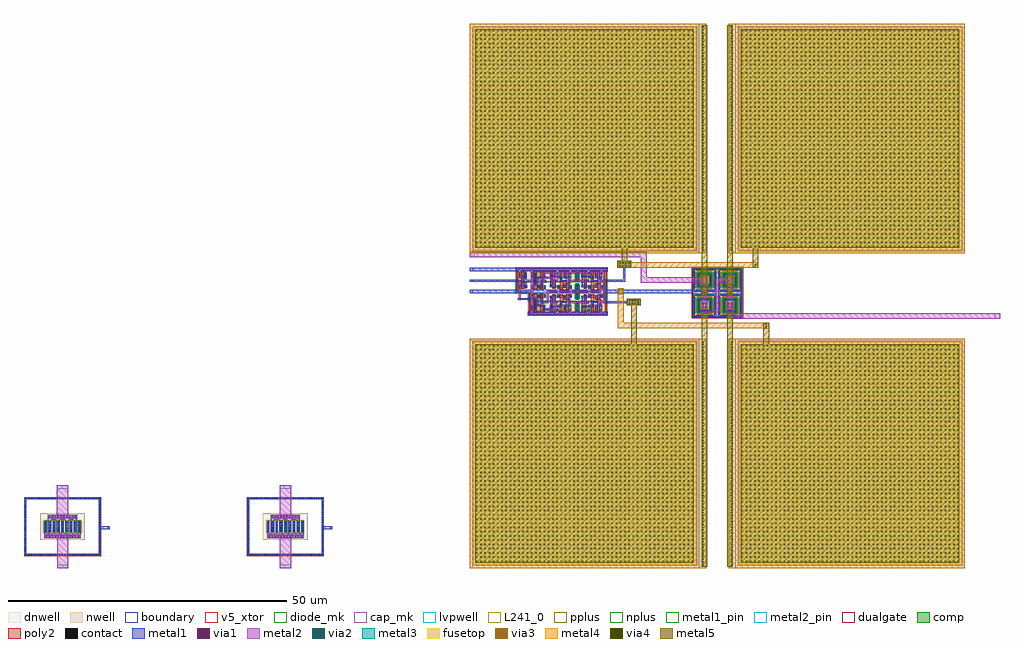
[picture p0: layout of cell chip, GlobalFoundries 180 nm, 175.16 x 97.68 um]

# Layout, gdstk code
from math import pi, radians
import gdstk
lib = gdstk.Library(unit=1e-6, precision=1e-09)
def R(c, l, rs):  # rectangles x0, y0, x1, y1
    for r in rs: c.add(gdstk.rectangle(r[:2], r[2:], *l))
def A(c, l, x, y, w, h, nx, ny, dx, dy):  # array of equal rectangles
    R(c, l, [(x+i*dx, y+j*dy, x+i*dx+w, y+j*dy+h) for i in range(nx) for j in range(ny)])
def P(c, l, *ps):  # polygons
    for p in ps: c.add(gdstk.Polygon(p, *l))
boundary = (0, 0)
dnwell = (12, 0)
nwell = (21, 0)
comp = (22, 0)
poly2 = (30, 0)
pplus = (31, 0)
nplus = (32, 0)
contact = (33, 0)
metal1 = (34, 0)
metal1_pin = (34, 10)
via1 = (35, 0)
metal2 = (36, 0)
metal2_pin = (36, 10)
via2 = (38, 0)
via3 = (40, 0)
via4 = (41, 0)
metal3 = (42, 0)
metal4 = (46, 0)
dualgate = (55, 0)
fusetop = (75, 0)
metal5 = (81, 0)
v5_xtor = (112, 1)
diode_mk = (115, 5)
cap_mk = (117, 5)
lvpwell = (204, 0)
L241_0 = (241, 0)

schottkydiode = lib.new_cell('SchottkyDiode')
R(schottkydiode, dnwell, [(2.89,5.06,10.93,9.86)])
A(schottkydiode, comp, 3.65, 6.46, 0.36, 2, 5, 1, 1.54, 0)
A(schottkydiode, comp, 4.29, 6.46, 0.62, 2, 4, 1, 1.54, 0)
P(schottkydiode, comp, [(0.03,2.2),(0.03,12.36),(0.39,12.36),(0.39,2.56),(13.43,2.56),(13.43,12.36),(0.03,12.36),(0.03,12.72),(13.79,12.72),(13.79,2.2)])
P(schottkydiode, pplus, [(0,2.17),(0,12.33),(0.42,12.33),(0.42,2.59),(13.4,2.59),(13.4,12.33),(0,12.33),(0,12.75),(13.82,12.75),(13.82,2.17)])
A(schottkydiode, nplus, 3.62, 6.43, 0.42, 2.06, 5, 1, 1.54, 0)
A(schottkydiode, contact, 0.22, 2.27, 0.22, 0.22, 29, 2, 0.47, 10.16)
A(schottkydiode, contact, 0.1, 2.87, 0.22, 0.22, 1, 20, 0, 0.47)
A(schottkydiode, contact, 13.5, 2.87, 0.22, 0.22, 1, 20, 0, 0.47)
A(schottkydiode, contact, 3.72, 6.645, 0.22, 0.22, 9, 4, 0.77, 0.47)
A(schottkydiode, metal1, 3.65, 6.23, 0.36, 2.23, 5, 1, 1.54, 0)
A(schottkydiode, metal1, 4.29, 6.46, 0.62, 2.23, 4, 1, 1.54, 0)
R(schottkydiode, metal1, [(3.65,5.35,10.17,6), (3.65,6,10.17,6.23), (13.43,6.97,15.35,7.48), (4.29,8.69,9.53,8.92), (4.29,8.92,9.53,9.57)])
P(schottkydiode, metal1, [(0.03,2.2),(0.03,12.72),(0.39,12.72),(0.39,2.56),(13.43,2.56),(13.43,12.36),(0.39,12.36),(0.39,12.72),(13.79,12.72),(13.79,2.2)])
R(schottkydiode, metal1_pin, [(14.99,6.97,15.35,7.48)])
A(schottkydiode, via1, 3.93, 5.54, 0.26, 0.26, 12, 1, 0.52, 0)
A(schottkydiode, via1, 4.44, 9.13, 0.26, 0.26, 10, 1, 0.52, 0)
R(schottkydiode, metal2, [(5.93,0,7.93,6), (3.65,5.35,10.17,6), (4.29,8.92,9.53,9.57), (5.92,8.92,7.92,14.92)])
R(schottkydiode, metal2_pin, [(5.93,0,7.93,0.65), (5.92,14.27,7.92,14.92), (5.92,14.27,7.92,14.92)])
R(schottkydiode, L241_0, [(3.49,6.3,10.33,8.62)])
schottkydiode.add(gdstk.Label('GND_e', (15.17,7.2), layer=34, texttype=10))
schottkydiode.add(gdstk.Label('Anode_n', (6.9,14.58), layer=36, texttype=10))
schottkydiode.add(gdstk.Label('Cathode_s', (6.93,0.32), layer=36, texttype=10))

cap_mim_2p0ff_dkdw9x = lib.new_cell('cap_mim_2p0fF_DKDW9X')
R(cap_mim_2p0ff_dkdw9x, boundary, [(-21.2,-20.6,20,20.6)])
A(cap_mim_2p0ff_dkdw9x, via4, 20.54, -20.15, 0.26, 0.26, 1, 78, 0, 0.52)
A(cap_mim_2p0ff_dkdw9x, via4, -20.11, -19.51, 0.26, 0.26, 52, 52, 0.76, 0.76)
R(cap_mim_2p0ff_dkdw9x, metal4, [(-21.2,-20.6,21.2,20.6)])
R(cap_mim_2p0ff_dkdw9x, fusetop, [(-20.6,-20,19.4,20)])
R(cap_mim_2p0ff_dkdw9x, metal5, [(20.45,-20.315,20.89,20.315), (-20.2,-19.6,19,19.6)])
R(cap_mim_2p0ff_dkdw9x, cap_mk, [(-20.8,-20.2,19.6,20.2)])

diode_pd2nw_06v0_clfv8t = lib.new_cell('diode_pd2nw_06v0_CLFV8T')
R(diode_pd2nw_06v0_clfv8t, boundary, [(-1.04,-1.04,1.04,1.04)])
R(diode_pd2nw_06v0_clfv8t, nwell, [(-1.38,-1.38,1.38,1.38)])
R(diode_pd2nw_06v0_clfv8t, comp, [(-2.1,-2.1,2.1,-1.74), (-2.1,-1.74,-1.74,1.74), (1.74,-1.74,2.1,1.74), (-1.22,-1.22,1.22,-0.86), (-1.22,-0.86,-0.86,0.86), (0.86,-0.86,1.22,0.86), (-0.5,-0.5,0.5,0.5), (-1.22,0.86,1.22,1.22), (-2.1,1.74,2.1,2.1)])
R(diode_pd2nw_06v0_clfv8t, pplus, [(-2.12,-2.12,2.12,-1.615), (-2.13,-1.615,2.13,-1.58), (-2.13,-1.58,-1.58,1.58), (1.58,-1.58,2.13,1.58), (-0.66,-0.66,0.66,0.66), (-2.13,1.58,2.13,1.615), (-2.12,1.615,2.12,2.12)])
R(diode_pd2nw_06v0_clfv8t, nplus, [(-1.38,-1.38,1.38,-0.79), (-1.38,-0.79,-0.79,0.79), (0.79,-0.79,1.38,0.79), (-1.38,0.79,1.38,1.38)])
A(diode_pd2nw_06v0_clfv8t, contact, -2.03, -1.285, 0.22, 0.22, 1, 6, 0, 0.47)
A(diode_pd2nw_06v0_clfv8t, contact, 1.81, -1.285, 0.22, 0.22, 1, 6, 0, 0.47)
A(diode_pd2nw_06v0_clfv8t, contact, -0.58, -1.15, 0.22, 0.22, 3, 2, 0.47, 2.08)
A(diode_pd2nw_06v0_clfv8t, contact, -1.15, -0.58, 0.22, 0.22, 1, 3, 0, 0.47)
A(diode_pd2nw_06v0_clfv8t, contact, 0.93, -0.58, 0.22, 0.22, 1, 3, 0, 0.47)
R(diode_pd2nw_06v0_clfv8t, contact, [(-0.345,-0.345,-0.125,-0.125), (0.125,-0.345,0.345,-0.125), (-0.345,0.125,-0.125,0.345), (0.125,0.125,0.345,0.345)])
R(diode_pd2nw_06v0_clfv8t, metal1, [(-2.035,-2.035,2.035,-1.805), (-2.035,-1.805,-1.805,1.805), (1.805,-1.805,2.035,1.805), (-1.155,-1.155,1.155,-0.925), (-1.155,-0.925,-0.925,0.925), (0.925,-0.925,1.155,0.925), (-0.49,-0.435,0.49,0.435), (-1.155,0.925,1.155,1.155), (-2.035,1.805,2.035,2.035)])
R(diode_pd2nw_06v0_clfv8t, dualgate, [(-2.34,-2.34,2.34,2.34)])
R(diode_pd2nw_06v0_clfv8t, diode_mk, [(-0.5,-0.5,0.5,0.5)])
R(diode_pd2nw_06v0_clfv8t, lvpwell, [(-2.26,-2.26,2.26,-1.38), (-2.26,-1.38,-1.38,1.38), (1.38,-1.38,2.26,1.38), (-2.26,1.38,2.26,2.26)])

gf180mcu_fd_sc_mcu7t5v0_ = lib.new_cell('gf180mcu_fd_sc_mcu7t5v0__nor2_1')
R(gf180mcu_fd_sc_mcu7t5v0_, boundary, [(0,0,3.36,3.92)])
R(gf180mcu_fd_sc_mcu7t5v0_, nwell, [(-0.43,1.76,3.79,4.35)])
R(gf180mcu_fd_sc_mcu7t5v0_, comp, [(0.18,0.525,2.78,1.09), (0.18,2.36,2.73,3.58)])
P(gf180mcu_fd_sc_mcu7t5v0_, poly2, [(0.62,0.305),(0.62,3.8),(1.12,3.8),(1.12,1.315),(1.22,1.315),(1.22,0.305)],
  [(1.74,0.305),(1.74,1.315),(1.79,1.315),(1.79,3.8),(2.29,3.8),(2.29,1.315),(2.34,1.315),(2.34,0.305)])
R(gf180mcu_fd_sc_mcu7t5v0_, pplus, [(-0.2,1.76,3.56,4.12)])
R(gf180mcu_fd_sc_mcu7t5v0_, nplus, [(-0.2,-0.2,3.56,1.76)])
R(gf180mcu_fd_sc_mcu7t5v0_, contact, [(0.25,0.665,0.47,0.885), (2.49,0.665,2.71,0.885), (1.37,0.735,1.59,0.955), (0.74,1.345,0.96,1.565), (1.86,1.345,2.08,1.565), (0.74,1.815,0.96,2.035), (1.86,1.815,2.08,2.035), (0.25,2.63,0.47,2.85), (2.44,2.63,2.66,2.85), (0.25,3.1,0.47,3.32), (2.44,3.1,2.66,3.32)])
R(gf180mcu_fd_sc_mcu7t5v0_, metal1, [(0.705,1.18,1.01,3.32)])
P(gf180mcu_fd_sc_mcu7t5v0_, metal1, [(1.24,0.6),(1.24,2.68),(2.385,2.68),(2.385,3.38),(2.665,3.38),(2.665,2.36),(1.595,2.36),(1.595,0.6)],
  [(1.825,0.6),(1.825,2.13),(2.855,2.13),(2.855,1.79),(2.13,1.79),(2.13,0.6)],
  [(0,-0.3),(0,0.3),(0.245,0.3),(0.245,0.945),(0.475,0.945),(0.475,0.3),(2.485,0.3),(2.485,1.09),(2.715,1.09),(2.715,0.3),(3.36,0.3),(3.36,-0.3)],
  [(0.245,2.53),(0.245,3.62),(0,3.62),(0,4.22),(3.36,4.22),(3.36,3.62),(0.475,3.62),(0.475,2.53)])
R(gf180mcu_fd_sc_mcu7t5v0_, dualgate, [(-0.28,-0.28,3.64,4.2)])
R(gf180mcu_fd_sc_mcu7t5v0_, v5_xtor, [(0,0,3.36,3.92)])
R(gf180mcu_fd_sc_mcu7t5v0_, lvpwell, [(-0.43,-0.43,3.79,1.76)])
gf180mcu_fd_sc_mcu7t5v0_.add(gdstk.Label('VDD', (1.68,3.925), layer=34, texttype=10))
gf180mcu_fd_sc_mcu7t5v0_.add(gdstk.Label('VSS', (1.68,0), layer=34, texttype=10))
gf180mcu_fd_sc_mcu7t5v0_.add(gdstk.Label('ZN', (1.96,2.52), layer=34, texttype=10))
gf180mcu_fd_sc_mcu7t5v0_.add(gdstk.Label('A1', (1.96,1.4), layer=34, texttype=10))
gf180mcu_fd_sc_mcu7t5v0_.add(gdstk.Label('A2', (0.84,2.52), layer=34, texttype=10))
gf180mcu_fd_sc_mcu7t5v0_.add(gdstk.Label('& Vendor GLOBALFOUNDRIES', (0,2), layer=63, texttype=63))
gf180mcu_fd_sc_mcu7t5v0_.add(gdstk.Label('& Product GF018hv5v_mcu_sc7', (0,1.5), layer=63, texttype=63))
gf180mcu_fd_sc_mcu7t5v0_.add(gdstk.Label('& Version 2015q2v1', (0,1), layer=63, texttype=63))
gf180mcu_fd_sc_mcu7t5v0_.add(gdstk.Label('& Metric 1.00', (0,0.5), layer=63, texttype=63))
gf180mcu_fd_sc_mcu7t5v0_.add(gdstk.Label('VNW', (0.345,3.92), layer=21, texttype=10))
gf180mcu_fd_sc_mcu7t5v0_.add(gdstk.Label('VPW', (0.34,-0.085), layer=204, texttype=10))

c_gf180mcu_fd_sc_mcu7t5v0_ = lib.new_cell('gf180mcu_fd_sc_mcu7t5v0__filltie')
R(c_gf180mcu_fd_sc_mcu7t5v0_, boundary, [(0,0,1.12,3.92)])
R(c_gf180mcu_fd_sc_mcu7t5v0_, nwell, [(-0.43,1.76,1.55,4.35)])
R(c_gf180mcu_fd_sc_mcu7t5v0_, comp, [(0.28,0.28,0.84,1.28), (0.36,1.92,0.76,3.56)])
R(c_gf180mcu_fd_sc_mcu7t5v0_, pplus, [(0.2,0.2,0.92,1.36)])
P(c_gf180mcu_fd_sc_mcu7t5v0_, pplus, [(-0.2,1.76),(-0.2,4.12),(1.32,4.12),(1.32,1.76),(0.92,1.76),(0.92,3.72),(0.2,3.72),(0.2,1.76)])
P(c_gf180mcu_fd_sc_mcu7t5v0_, nplus, [(-0.2,-0.2),(-0.2,1.76),(0.2,1.76),(0.2,3.72),(0.92,3.72),(0.92,1.36),(0.2,1.36),(0.2,0.2),(0.92,0.2),(0.92,3.72),(0.92,1.76),(1.32,1.76),(1.32,-0.2)])
A(c_gf180mcu_fd_sc_mcu7t5v0_, contact, 0.45, 1.99, 0.22, 0.22, 1, 3, 0, 0.64)
R(c_gf180mcu_fd_sc_mcu7t5v0_, contact, [(0.45,0.4,0.67,0.62), (0.45,0.905,0.67,1.125)])
P(c_gf180mcu_fd_sc_mcu7t5v0_, metal1, [(0,-0.3),(0,0.3),(0.39,0.3),(0.39,1.185),(0.73,1.185),(0.73,0.3),(1.12,0.3),(1.12,-0.3)],
  [(0.39,1.93),(0.39,3.62),(0,3.62),(0,4.22),(1.12,4.22),(1.12,3.62),(0.73,3.62),(0.73,1.93)])
R(c_gf180mcu_fd_sc_mcu7t5v0_, dualgate, [(-0.28,-0.28,1.4,4.2)])
R(c_gf180mcu_fd_sc_mcu7t5v0_, v5_xtor, [(0,0,1.12,3.92)])
R(c_gf180mcu_fd_sc_mcu7t5v0_, lvpwell, [(-0.43,-0.43,1.55,1.76)])
c_gf180mcu_fd_sc_mcu7t5v0_.add(gdstk.Label('VDD', (0.57,3.92), layer=34, texttype=10))
c_gf180mcu_fd_sc_mcu7t5v0_.add(gdstk.Label('VSS', (0.57,0), layer=34, texttype=10))
c_gf180mcu_fd_sc_mcu7t5v0_.add(gdstk.Label('& Vendor GLOBALFOUNDRIES', (0,2), layer=63, texttype=63))
c_gf180mcu_fd_sc_mcu7t5v0_.add(gdstk.Label('& Product GF018hv5v_mcu_sc7', (0,1.5), layer=63, texttype=63))
c_gf180mcu_fd_sc_mcu7t5v0_.add(gdstk.Label('& Version 2015q2v1', (0,1), layer=63, texttype=63))
c_gf180mcu_fd_sc_mcu7t5v0_.add(gdstk.Label('& Metric 1.00', (0,0.5), layer=63, texttype=63))

c_gf180mcu_fd_sc_mcu7t5v0__ = lib.new_cell('gf180mcu_fd_sc_mcu7t5v0__clkinv_1')
R(c_gf180mcu_fd_sc_mcu7t5v0__, boundary, [(0,0,2.24,3.92)])
R(c_gf180mcu_fd_sc_mcu7t5v0__, nwell, [(-0.43,1.76,2.67,4.35)])
R(c_gf180mcu_fd_sc_mcu7t5v0__, comp, [(0.18,0.68,1.66,1.16), (0.18,2.36,1.56,3.58)])
P(c_gf180mcu_fd_sc_mcu7t5v0__, poly2, [(0.62,0.46),(0.62,3.8),(1.12,3.8),(1.12,1.38),(1.22,1.38),(1.22,0.46)])
R(c_gf180mcu_fd_sc_mcu7t5v0__, pplus, [(-0.2,1.76,2.44,4.12)])
R(c_gf180mcu_fd_sc_mcu7t5v0__, nplus, [(-0.2,-0.2,2.44,1.76)])
R(c_gf180mcu_fd_sc_mcu7t5v0__, contact, [(0.25,0.76,0.47,0.98), (1.37,0.76,1.59,0.98), (0.71,1.66,0.93,1.88), (0.25,2.58,0.47,2.8), (1.27,2.58,1.49,2.8), (0.25,3.05,0.47,3.27), (1.27,3.05,1.49,3.27)])
R(c_gf180mcu_fd_sc_mcu7t5v0__, metal1, [(1.26,0.6,1.595,3.37), (0.705,0.97,1.03,2.95)])
P(c_gf180mcu_fd_sc_mcu7t5v0__, metal1, [(0,-0.3),(0,0.3),(0.245,0.3),(0.245,1.04),(0.475,1.04),(0.475,0.3),(2.24,0.3),(2.24,-0.3)],
  [(0.245,2.48),(0.245,3.62),(0,3.62),(0,4.22),(2.24,4.22),(2.24,3.62),(0.475,3.62),(0.475,2.48)])
R(c_gf180mcu_fd_sc_mcu7t5v0__, dualgate, [(-0.28,-0.28,2.52,4.2)])
R(c_gf180mcu_fd_sc_mcu7t5v0__, v5_xtor, [(0,0,2.24,3.92)])
R(c_gf180mcu_fd_sc_mcu7t5v0__, lvpwell, [(-0.43,-0.43,2.67,1.76)])
c_gf180mcu_fd_sc_mcu7t5v0__.add(gdstk.Label('VDD', (1.4,3.92), layer=34, texttype=10))
c_gf180mcu_fd_sc_mcu7t5v0__.add(gdstk.Label('VSS', (1.4,0), layer=34, texttype=10))
c_gf180mcu_fd_sc_mcu7t5v0__.add(gdstk.Label('I', (0.84,1.96), layer=34, texttype=10))
c_gf180mcu_fd_sc_mcu7t5v0__.add(gdstk.Label('ZN', (1.4,1.96), layer=34, texttype=10))
c_gf180mcu_fd_sc_mcu7t5v0__.add(gdstk.Label('& Vendor GLOBALFOUNDRIES', (0,2), layer=63, texttype=63))
c_gf180mcu_fd_sc_mcu7t5v0__.add(gdstk.Label('& Product GF018hv5v_mcu_sc7', (0,1.5), layer=63, texttype=63))
c_gf180mcu_fd_sc_mcu7t5v0__.add(gdstk.Label('& Version 2015q2v1', (0,1), layer=63, texttype=63))
c_gf180mcu_fd_sc_mcu7t5v0__.add(gdstk.Label('& Metric 1.00', (0,0.5), layer=63, texttype=63))
c_gf180mcu_fd_sc_mcu7t5v0__.add(gdstk.Label('VNW', (0.345,3.92), layer=21, texttype=10))
c_gf180mcu_fd_sc_mcu7t5v0__.add(gdstk.Label('VPW', (0.34,-0.085), layer=204, texttype=10))

c_gf180mcu_fd_sc_mcu7t5v0___ = lib.new_cell('gf180mcu_fd_sc_mcu7t5v0__clkbuf_2')
R(c_gf180mcu_fd_sc_mcu7t5v0___, boundary, [(0,0,4.48,3.92)])
R(c_gf180mcu_fd_sc_mcu7t5v0___, nwell, [(-0.43,1.76,4.91,4.35)])
P(c_gf180mcu_fd_sc_mcu7t5v0___, comp, [(1.42,2.36),(1.42,2.56),(0.18,2.56),(0.18,3.58),(3.98,3.58),(3.98,2.36)],
  [(1.52,0.675),(1.52,0.8),(0.18,0.8),(0.18,1.16),(4.08,1.16),(4.08,0.675)])
P(c_gf180mcu_fd_sc_mcu7t5v0___, poly2, [(0.62,0.47),(0.62,3.8),(1.12,3.8),(1.12,2.035),(1.22,2.035),(1.22,0.47)],
  [(1.92,0.45),(1.92,3.8),(2.42,3.8),(2.42,2.035),(3.04,2.035),(3.04,3.8),(3.54,3.8),(3.54,2.035),(3.64,2.035),(3.64,0.45),(3.04,0.45),(3.04,1.675),(2.52,1.675),(2.52,0.45)])
R(c_gf180mcu_fd_sc_mcu7t5v0___, pplus, [(-0.2,1.76,4.68,4.12)])
R(c_gf180mcu_fd_sc_mcu7t5v0___, nplus, [(-0.2,-0.2,4.68,1.76)])
A(c_gf180mcu_fd_sc_mcu7t5v0___, contact, 1.99, 1.745, 0.22, 0.22, 3, 1, 0.47, 0)
R(c_gf180mcu_fd_sc_mcu7t5v0___, contact, [(3.79,0.825,4.01,1.045), (0.25,0.87,0.47,1.09), (1.55,0.87,1.77,1.09), (2.67,0.87,2.89,1.09), (0.8,1.745,1.02,1.965), (0.25,2.64,0.47,2.86), (2.67,2.64,2.89,2.86), (0.25,3.11,0.47,3.33), (1.42,3.11,1.64,3.33), (2.67,3.11,2.89,3.33), (3.69,3.11,3.91,3.33)])
P(c_gf180mcu_fd_sc_mcu7t5v0___, metal1, [(0.705,0.55),(0.705,2.15),(1.65,2.15),(1.65,1.74),(1.08,1.74),(1.08,0.55)],
  [(0.245,0.805),(0.245,3.39),(0.475,3.39),(0.475,2.82),(2.215,2.82),(2.215,2.04),(3.21,2.04),(3.21,1.74),(1.89,1.74),(1.89,2.59),(0.475,2.59),(0.475,0.805)],
  [(2.665,0.8),(2.665,1.51),(3.47,1.51),(3.47,2.36),(2.665,2.36),(2.665,3.39),(2.895,3.39),(2.895,2.71),(3.81,2.71),(3.81,1.28),(2.895,1.28),(2.895,0.8)],
  [(0,-0.3),(0,0.3),(1.49,0.3),(1.49,1.095),(1.83,1.095),(1.83,0.3),(3.73,0.3),(3.73,1.05),(4.07,1.05),(4.07,0.3),(4.48,0.3),(4.48,-0.3)],
  [(1.36,3.05),(1.36,3.62),(0,3.62),(0,4.22),(4.48,4.22),(4.48,3.62),(3.915,3.62),(3.915,3.05),(3.685,3.05),(3.685,3.62),(1.7,3.62),(1.7,3.05)])
R(c_gf180mcu_fd_sc_mcu7t5v0___, dualgate, [(-0.28,-0.28,4.76,4.2)])
R(c_gf180mcu_fd_sc_mcu7t5v0___, v5_xtor, [(0,0,4.48,3.92)])
R(c_gf180mcu_fd_sc_mcu7t5v0___, lvpwell, [(-0.43,-0.43,4.91,1.76)])
c_gf180mcu_fd_sc_mcu7t5v0___.add(gdstk.Label('Z', (3.08,2.52), layer=34, texttype=10))
c_gf180mcu_fd_sc_mcu7t5v0___.add(gdstk.Label('VSS', (2.185,0), layer=34, texttype=10))
c_gf180mcu_fd_sc_mcu7t5v0___.add(gdstk.Label('VDD', (2.185,3.92), layer=34, texttype=10))
c_gf180mcu_fd_sc_mcu7t5v0___.add(gdstk.Label('I', (0.84,1.4), layer=34, texttype=10))
c_gf180mcu_fd_sc_mcu7t5v0___.add(gdstk.Label('& Vendor GLOBALFOUNDRIES', (0,2), layer=63, texttype=63))
c_gf180mcu_fd_sc_mcu7t5v0___.add(gdstk.Label('& Product GF018hv5v_mcu_sc7', (0,1.5), layer=63, texttype=63))
c_gf180mcu_fd_sc_mcu7t5v0___.add(gdstk.Label('& Version 2015q2v1', (0,1), layer=63, texttype=63))
c_gf180mcu_fd_sc_mcu7t5v0___.add(gdstk.Label('& Metric 1.00', (0,0.5), layer=63, texttype=63))
c_gf180mcu_fd_sc_mcu7t5v0___.add(gdstk.Label('VNW', (0.345,3.92), layer=21, texttype=10))
c_gf180mcu_fd_sc_mcu7t5v0___.add(gdstk.Label('VPW', (0.34,-0.085), layer=204, texttype=10))

nonovclkgen = lib.new_cell('NonOvCLKGen')
R(nonovclkgen, nwell, [(-7,-3.36,-5.54,-3.025)])
R(nonovclkgen, metal1, [(-4.76,-9.34,-4.16,-9.175), (9.105,-9.34,9.54,-8.74), (-4.76,-9.175,-3.91,-8.915), (-4.76,-8.915,-4.16,-8.74), (-1.945,-8.5,-0.955,-8.2), (2.5,-7.335,2.95,-6.795), (8.1,-7.295,8.435,-7.215), (5.615,-7.27,6.105,-6.86), (-1.825,-7.25,-0.98,-6.97), (8.1,-7.215,9.54,-6.88), (-0.2,-7.205,0.615,-6.925), (-1.58,-6.97,-0.98,-6.91), (8.125,-6.88,8.42,-6.85), (-6.56,-6.64,-3.32,-6.3), (-7,-5.42,-6.4,-4.82), (9.11,-5.42,9.54,-4.82), (-2.2,-3.57,-1.475,-2.99), (2.5,-3.445,2.95,-2.905), (0.38,-3.38,0.68,-3.31), (5.615,-3.38,6.105,-2.97), (8.1,-3.38,8.23,-3.375), (8.1,-3.375,8.42,-3.36), (-7,-3.36,-5.54,-3.025), (-5.305,-3.36,-3.385,-3.025), (8.1,-3.36,9.54,-3.025), (-0.195,-3.31,0.68,-3.3), (-0.195,-3.3,0.62,-3.03), (-1.365,-2.765,-0.985,-2.76), (-1.93,-2.76,-0.985,-2.495), (-1.67,-2.495,-0.985,-2.485), (-7,-1.5,-6.4,-0.9), (9.07,-1.5,9.54,-0.9), (-4.165,-1.325,-3.905,-1.065)])
R(nonovclkgen, metal1_pin, [(9.205,-7.215,9.54,-6.88), (-7,-5.42,-6.4,-4.82), (-7,-3.36,-6.665,-3.025), (9.205,-3.36,9.54,-3.025), (-7,-1.5,-6.4,-0.9)])
R(nonovclkgen, via1, [(-4.17,-9.175,-3.91,-8.915), (-1.3,-8.48,-1.04,-8.22), (-1.3,-7.205,-1.04,-6.945), (-0.185,-7.195,0.075,-6.935), (0.335,-7.195,0.595,-6.935), (2.585,-7.195,2.845,-6.935), (5.73,-7.195,5.99,-6.935), (8.14,-7.145,8.4,-6.885), (-6.36,-6.595,-6.1,-6.335), (-2.135,-3.41,-1.875,-3.15), (8.14,-3.34,8.4,-3.08), (-6.365,-3.32,-6.105,-3.06), (2.585,-3.305,2.845,-3.045), (5.73,-3.305,5.99,-3.045), (-0.18,-3.3,0.08,-3.04), (0.34,-3.3,0.6,-3.04), (-1.315,-2.755,-1.055,-2.495), (-4.165,-1.325,-3.905,-1.065)])
R(nonovclkgen, metal2, [(-4.28,-9.29,-3.78,-0.95), (-1.37,-8.55,-0.955,-8.5), (-1.37,-8.5,0.38,-8.2), (-1.37,-8.2,-0.955,-8.15), (0.08,-8.2,0.38,-7.27), (2.47,-7.335,2.95,-7.27), (5.605,-7.325,6.075,-7.27), (-0.265,-7.27,0.68,-6.86), (2.47,-7.27,6.075,-6.86), (-1.34,-7.25,-1,-5.29), (8.1,-7.24,9.065,-6.71), (2.47,-6.86,2.95,-6.795), (5.605,-6.86,6.075,-6.785), (8.725,-6.71,9.065,-1.945), (-6.4,-6.655,-6.065,-2.98), (-1.34,-5.29,8.44,-4.95), (8.1,-4.95,8.44,-2.98), (-2.2,-3.57,-1.795,-1.945), (2.47,-3.445,2.95,-3.38), (5.605,-3.435,6.075,-3.38), (-0.265,-3.38,0.68,-2.97), (2.47,-3.38,6.075,-2.97), (-0.265,-2.97,0.675,-2.82), (2.47,-2.97,2.95,-2.905), (5.605,-2.97,6.075,-2.895), (-1.375,-2.82,0.675,-2.43), (-2.2,-1.945,9.065,-1.54)])
nonovclkgen.add(gdstk.Reference(gf180mcu_fd_sc_mcu7t5v0_, (-4.33,-5.12), x_reflection=True))
nonovclkgen.add(gdstk.Reference(gf180mcu_fd_sc_mcu7t5v0_, (-4.33,-5.12)))
nonovclkgen.add(gdstk.Reference(c_gf180mcu_fd_sc_mcu7t5v0_, (3.51,-5.12), x_reflection=True))
nonovclkgen.add(gdstk.Reference(c_gf180mcu_fd_sc_mcu7t5v0_, (3.51,-5.12)))
nonovclkgen.add(gdstk.Reference(c_gf180mcu_fd_sc_mcu7t5v0__, (-6.57,-5.12)))
nonovclkgen.add(gdstk.Reference(c_gf180mcu_fd_sc_mcu7t5v0___, (4.63,-5.12), x_reflection=True))
nonovclkgen.add(gdstk.Reference(c_gf180mcu_fd_sc_mcu7t5v0___, (4.63,-5.12)))
nonovclkgen.add(gdstk.Reference(c_gf180mcu_fd_sc_mcu7t5v0___, (-0.97,-5.12), x_reflection=True))
nonovclkgen.add(gdstk.Reference(c_gf180mcu_fd_sc_mcu7t5v0___, (-0.97,-5.12)))
nonovclkgen.add(gdstk.Label('CLK_IN', (-6.832,-3.192), layer=34, texttype=10))
nonovclkgen.add(gdstk.Label('VDD', (-6.7,-1.2), layer=34, texttype=10))
nonovclkgen.add(gdstk.Label('PHI1', (9.372,-3.192), layer=34, texttype=10))
nonovclkgen.add(gdstk.Label('PHI2', (9.372,-7.047), layer=34, texttype=10))
nonovclkgen.add(gdstk.Label('GND', (-6.7,-5.12), layer=34, texttype=10))

tunnelingchargepump = lib.new_cell('TunnelingChargePump')
R(tunnelingchargepump, pplus, [(44.27,45.04,44.59,45.545), (44.28,45.545,44.58,48.775), (44.27,48.775,44.59,49.28), (40.03,49.28,48.83,49.6), (44.27,49.6,44.59,50.105), (44.28,50.105,44.58,53.335), (44.27,53.335,44.59,53.84)])
R(tunnelingchargepump, metal1, [(44.185,45.125,44.675,49.195), (46.21,45.125,47.21,45.355), (41.5,45.93,42.8,46.31), (46.06,45.93,47.36,46.31), (41.65,46.66,42.65,47.66), (46.21,46.66,47.21,47.66), (28.175,47.145,30.645,47.55), (24.39,47.55,30.645,47.885), (28.175,47.885,30.645,48.39), (26.575,49.135,27.65,49.345), (40.115,49.195,48.745,49.345), (0,49.345,8.785,49.945), (24.64,49.345,48.745,49.685), (24.64,49.685,40.43,49.945), (44.185,49.685,44.675,53.755), (26.575,49.945,27.65,50.21), (41.5,50.49,42.8,50.87), (46.06,50.49,47.36,50.87), (41.65,51.22,42.65,52.22), (46.21,51.22,47.21,52.22), (0,51.405,8.52,51.74), (24.385,51.405,27.915,51.74), (27.58,51.74,27.915,53.89), (0,53.265,8.785,53.865), (26.51,53.89,28.98,55.135)])
R(tunnelingchargepump, metal1_pin, [(0,49.345,0.55,49.945), (0,51.405,0.55,51.74), (0,53.265,0.53,53.865)])
A(tunnelingchargepump, via1, 28.52, 47.39, 0.26, 0.26, 4, 2, 0.52, 0.52)
A(tunnelingchargepump, via1, 26.855, 54.135, 0.26, 0.26, 4, 2, 0.52, 0.52)
R(tunnelingchargepump, via1, [(41.76,45.99,42.02,46.25), (42.28,45.99,42.54,46.25), (46.32,45.99,46.58,46.25), (46.84,45.99,47.1,46.25), (41.76,46.77,42.02,47.03), (42.28,46.77,42.54,47.03), (46.32,46.77,46.58,47.03), (46.84,46.77,47.1,47.03), (41.76,47.29,42.02,47.55), (42.28,47.29,42.54,47.55), (46.32,47.29,46.58,47.55), (46.84,47.29,47.1,47.55), (26.72,49.29,26.98,49.55), (27.24,49.29,27.5,49.55), (26.72,49.81,26.98,50.07), (27.24,49.81,27.5,50.07), (41.76,50.55,42.02,50.81), (42.28,50.55,42.54,50.81), (46.32,50.55,46.58,50.81), (46.84,50.55,47.1,50.81), (41.76,51.33,42.02,51.59), (42.28,51.33,42.54,51.59), (46.32,51.33,46.58,51.59), (46.84,51.33,47.1,51.59), (41.76,51.85,42.02,52.11), (42.28,51.85,42.54,52.11), (46.32,51.85,46.58,52.11), (46.84,51.85,47.1,52.11)])
R(tunnelingchargepump, metal2, [(41.65,44.75,42.65,45.93), (46.21,44.75,95.155,45.7), (46.21,45.7,47.36,45.93), (41.5,45.93,44.675,46.31), (46.06,45.93,47.36,46.31), (44.185,46.31,44.675,51.22), (41.65,46.66,42.65,50.49), (46.21,46.66,47.21,50.49), (28.175,47.145,30.645,48.39), (26.575,49.135,27.65,50.21), (41.5,50.49,42.8,50.87), (46.06,50.49,47.36,50.87), (30.72,51.22,42.65,52.22), (44.185,51.22,47.21,52.22), (30.72,52.22,31.72,55.775), (26.51,53.89,28.98,55.135), (0,55.775,31.72,56.775)])
R(tunnelingchargepump, metal2_pin, [(94.205,44.75,95.155,45.7), (0,55.775,0.88,56.775)])
A(tunnelingchargepump, via2, 28.52, 47.39, 0.26, 0.26, 4, 2, 0.52, 0.52)
A(tunnelingchargepump, via2, 26.855, 54.135, 0.26, 0.26, 4, 2, 0.52, 0.52)
R(tunnelingchargepump, via2, [(42.02,45.13,42.28,45.39), (46.58,45.13,46.84,45.39), (26.72,49.29,26.98,49.55), (27.24,49.29,27.5,49.55), (42.02,49.305,42.28,49.565), (46.58,49.305,46.84,49.565), (26.72,49.81,26.98,50.07), (27.24,49.81,27.5,50.07)])
A(tunnelingchargepump, via3, 28.52, 47.39, 0.26, 0.26, 4, 2, 0.52, 0.52)
A(tunnelingchargepump, via3, 26.855, 54.135, 0.26, 0.26, 4, 2, 0.52, 0.52)
R(tunnelingchargepump, via3, [(42.02,45.13,42.28,45.39), (46.58,45.13,46.84,45.39), (26.72,49.29,26.98,49.55), (27.24,49.29,27.5,49.55), (42.02,49.305,42.28,49.565), (46.58,49.305,46.84,49.565), (26.72,49.81,26.98,50.07), (27.24,49.81,27.5,50.07)])
A(tunnelingchargepump, via4, 28.52, 47.39, 0.26, 0.26, 4, 2, 0.52, 0.52)
A(tunnelingchargepump, via4, 26.855, 54.135, 0.26, 0.26, 4, 2, 0.52, 0.52)
R(tunnelingchargepump, via4, [(53.02,43.15,53.28,43.41), (53.02,43.67,53.28,43.93), (42.02,45.13,42.28,45.39), (46.58,45.13,46.84,45.39), (42.02,49.305,42.28,49.565), (46.58,49.305,46.84,49.565), (51.13,54.265,51.39,54.525)])
R(tunnelingchargepump, metal3, [(41.65,44.75,42.65,45.7), (46.21,44.75,47.21,45.7), (28.175,47.145,30.645,48.39), (41.65,48.965,42.65,49.915), (46.21,48.965,47.21,49.915), (26.575,49.135,27.65,50.21), (26.51,53.89,28.98,55.135)])
R(tunnelingchargepump, metal4, [(52.625,43.005,53.7,43.03), (26.575,43.03,53.7,44.08), (26.575,44.08,27.65,50.21), (41.65,44.75,42.65,45.7), (46.21,44.75,47.21,45.7), (28.175,47.145,30.645,48.39), (41.65,48.965,42.65,49.915), (46.21,48.965,47.21,49.915), (26.51,53.89,51.765,54.89), (26.51,54.89,28.98,55.135)])
R(tunnelingchargepump, metal5, [(41.65,0.28,42.65,45.7), (46.205,0.285,47.205,42.09), (52.625,40.125,53.7,44.08), (28.975,40.155,29.975,47.145), (46.205,42.09,47.21,44.9), (46.21,44.9,47.21,45.7), (28.175,47.145,30.645,48.39), (41.65,48.965,42.65,97.385), (46.21,48.965,47.21,97.395), (26.51,53.89,28.98,55.135), (50.765,53.89,51.76,57.48), (27.24,55.135,28.24,57.48)])
R(tunnelingchargepump, lvpwell, [(44.41,47.345,44.45,49.42), (39.89,49.42,48.97,49.46), (44.41,49.46,44.45,53.98)])
tunnelingchargepump.add(gdstk.Reference(cap_mim_2p0ff_dkdw9x, (21.2,77.08)))
tunnelingchargepump.add(gdstk.Reference(cap_mim_2p0ff_dkdw9x, (67.66,77.08), rotation=pi))
tunnelingchargepump.add(gdstk.Reference(cap_mim_2p0ff_dkdw9x, (21.2,20.6)))
tunnelingchargepump.add(gdstk.Reference(cap_mim_2p0ff_dkdw9x, (67.655,20.6), rotation=pi))
tunnelingchargepump.add(gdstk.Reference(diode_pd2nw_06v0_clfv8t, (42.15,51.72)))
tunnelingchargepump.add(gdstk.Reference(diode_pd2nw_06v0_clfv8t, (46.71,51.72)))
tunnelingchargepump.add(gdstk.Reference(diode_pd2nw_06v0_clfv8t, (42.15,47.16)))
tunnelingchargepump.add(gdstk.Reference(diode_pd2nw_06v0_clfv8t, (46.71,47.16)))
tunnelingchargepump.add(gdstk.Reference(nonovclkgen, (15.185,54.765)))
tunnelingchargepump.add(gdstk.Label('VDD_w', (0.265,53.565), layer=34, texttype=10))
tunnelingchargepump.add(gdstk.Label('CLK_IN_w', (0.275,51.572), layer=34, texttype=10))
tunnelingchargepump.add(gdstk.Label('GND_w', (0.275,49.645), layer=34, texttype=10))
tunnelingchargepump.add(gdstk.Label('Vout_e', (94.68,45.225), layer=36, texttype=10))
tunnelingchargepump.add(gdstk.Label('Vin_w', (0.44,56.275), layer=36, texttype=10))

chip = lib.new_cell('chip')
r = gdstk.Reference(schottkydiode, (0,0)); r.repetition = gdstk.Repetition(1, 1, v1=(15.35,0), v2=(0,14.92)); chip.add(r)
r = gdstk.Reference(schottkydiode, (40,0)); r.repetition = gdstk.Repetition(1, 1, v1=(15.35,0), v2=(0,14.92)); chip.add(r)
r = gdstk.Reference(tunnelingchargepump, (80,0)); r.repetition = gdstk.Repetition(1, 1, v1=(95.155,0), v2=(0,97.115)); chip.add(r)

lib.write_gds('chip.gds')
